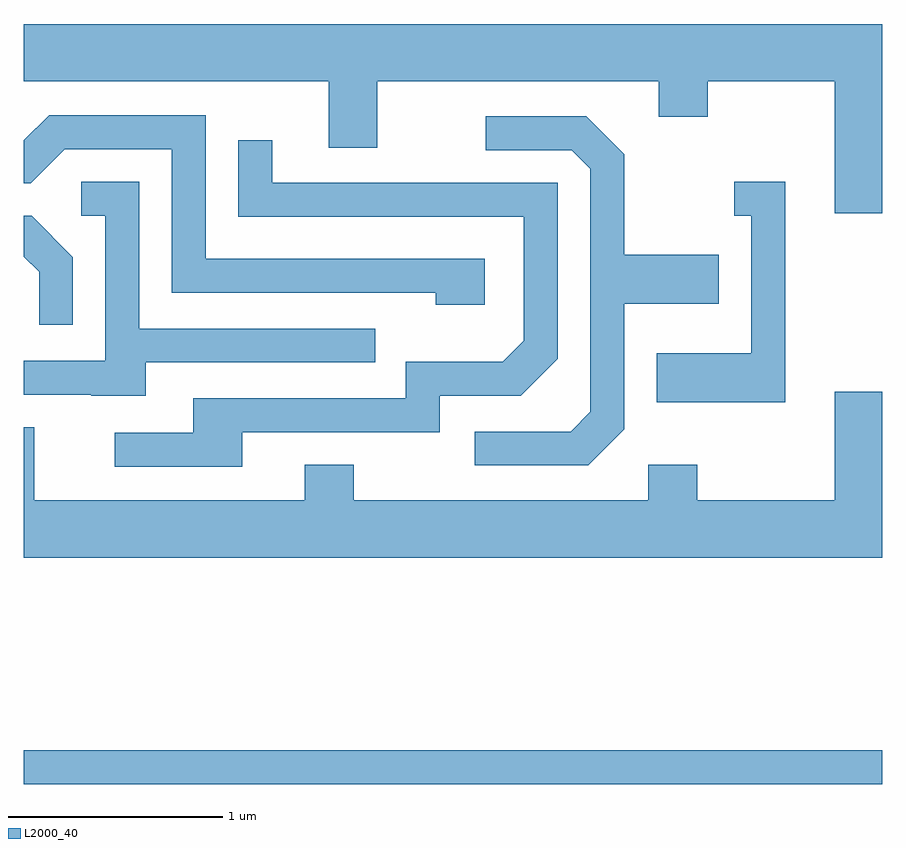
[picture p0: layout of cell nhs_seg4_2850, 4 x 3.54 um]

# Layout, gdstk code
import gdstk
lib = gdstk.Library(unit=1e-6, precision=1e-09)
def R(c, l, rs):  # rectangles x0, y0, x1, y1
    for r in rs: c.add(gdstk.rectangle(r[:2], r[2:], *l))
def P(c, l, *ps):  # polygons
    for p in ps: c.add(gdstk.Polygon(p, *l))
L2000_40 = (2000, 40)

nhs_seg4_2850 = lib.new_cell('nhs_seg4_2850')
R(nhs_seg4_2850, L2000_40, [(267.611,1378.041,271.611,1378.199)])
P(nhs_seg4_2850, L2000_40, [(271.611,1381.584),(267.611,1381.584),(267.611,1381.316),(269.031,1381.316),(269.031,1381.006),(269.259,1381.006),(269.259,1381.316),(270.571,1381.316),(270.571,1381.151),(270.799,1381.151),(270.799,1381.316),(271.391,1381.316),(271.391,1380.701),(271.611,1380.701)],
  [(269.759,1380.489),(268.459,1380.489),(268.459,1381.159),(267.729,1381.159),(267.611,1381.041),(267.611,1380.841),(267.642,1380.841),(267.802,1381.001),(268.301,1381.001),(268.301,1380.331),(269.531,1380.331),(269.531,1380.276),(269.759,1380.276)],
  [(270.409,1379.694),(270.409,1380.281),(270.849,1380.281),(270.849,1380.509),(270.409,1380.509),(270.409,1380.977),(270.232,1381.154),(269.763,1381.154),(269.763,1380.996),(270.164,1380.996),(270.251,1380.909),(270.251,1379.777),(270.159,1379.684),(269.713,1379.684),(269.713,1379.526),(270.242,1379.526)],
  [(268.629,1379.681),(269.549,1379.681),(269.549,1379.851),(269.927,1379.851),(270.099,1380.024),(270.099,1380.844),(268.769,1380.844),(268.769,1381.043),(268.611,1381.043),(268.611,1380.686),(269.941,1380.686),(269.941,1380.107),(269.844,1380.009),(269.391,1380.009),(269.391,1379.839),(268.401,1379.839),(268.401,1379.679),(268.033,1379.679),(268.033,1379.521),(268.629,1379.521)],
  [(271.159,1380.849),(270.923,1380.849),(270.923,1380.691),(271.001,1380.691),(271.001,1380.049),(270.561,1380.049),(270.561,1379.821),(271.159,1379.821)],
  [(268.179,1380.006),(269.248,1380.006),(269.248,1380.164),(268.149,1380.164),(268.149,1380.849),(267.878,1380.849),(267.878,1380.691),(267.991,1380.691),(267.991,1380.014),(267.611,1380.014),(267.611,1379.856),(267.925,1379.856),(267.925,1379.851),(268.179,1379.851)],
  [(267.839,1380.497),(267.647,1380.689),(267.611,1380.689),(267.611,1380.499),(267.681,1380.429),(267.681,1380.183),(267.839,1380.183)],
  [(271.611,1379.869),(271.391,1379.869),(271.391,1379.364),(270.749,1379.364),(270.749,1379.529),(270.521,1379.529),(270.521,1379.364),(269.149,1379.364),(269.149,1379.529),(268.921,1379.529),(268.921,1379.364),(267.659,1379.364),(267.659,1379.704),(267.611,1379.704),(267.611,1379.096),(271.611,1379.096)])

lib.write_gds('nhs_seg4_2850.gds')
